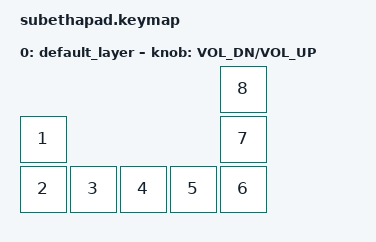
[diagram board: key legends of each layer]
#include <behaviors.dtsi>
#include <dt-bindings/zmk/keys.h>

/ {
    keymap {
        compatible = "zmk,keymap";

        default_layer {
// ---------------------------------------------------
// |         |         |         |         |    8    |
// |         |         |         |         |         |
// |    1    |         |         |         |    7    |
// |    2    |    3    |    4    |    5    |    6    |

            bindings = <
                                                &kp N8

    &kp N1                                      &kp N7
    &kp N2      &kp N3  &kp N4  &kp N5          &kp N6
            >;

            sensor-bindings = <&inc_dec_kp C_VOL_DN C_VOL_UP>;
        };
    };
};
